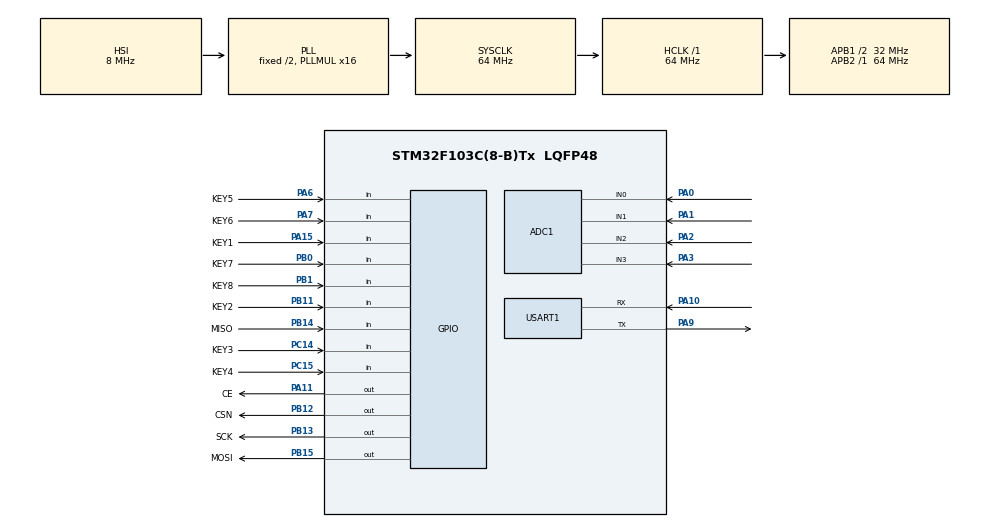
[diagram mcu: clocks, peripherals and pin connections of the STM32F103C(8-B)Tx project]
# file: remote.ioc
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ADC1.Channel-5\#ChannelRegularConversion=ADC_CHANNEL_0
ADC1.Channel-6\#ChannelRegularConversion=ADC_CHANNEL_1
ADC1.Channel-7\#ChannelRegularConversion=ADC_CHANNEL_2
ADC1.Channel-8\#ChannelRegularConversion=ADC_CHANNEL_3
ADC1.NbrOfConversion=4
ADC1.NbrOfConversionFlag=1
ADC1.Rank-5\#ChannelRegularConversion=1
ADC1.Rank-6\#ChannelRegularConversion=2
ADC1.Rank-7\#ChannelRegularConversion=3
ADC1.Rank-8\#ChannelRegularConversion=4
ADC1.SamplingTime-5\#ChannelRegularConversion=ADC_SAMPLETIME_1CYCLE_5
ADC1.SamplingTime-6\#ChannelRegularConversion=ADC_SAMPLETIME_1CYCLE_5
ADC1.SamplingTime-7\#ChannelRegularConversion=ADC_SAMPLETIME_1CYCLE_5
ADC1.SamplingTime-8\#ChannelRegularConversion=ADC_SAMPLETIME_1CYCLE_5
ADC1.master=1
Dma.ADC1.0.Direction=DMA_PERIPH_TO_MEMORY
Dma.ADC1.0.Instance=DMA1_Channel1
Dma.ADC1.0.MemDataAlignment=DMA_MDATAALIGN_HALFWORD
Dma.ADC1.0.MemInc=DMA_MINC_ENABLE
Dma.ADC1.0.Mode=DMA_CIRCULAR
Dma.ADC1.0.PeriphDataAlignment=DMA_PDATAALIGN_HALFWORD
Dma.ADC1.0.PeriphInc=DMA_PINC_DISABLE
Dma.ADC1.0.Priority=DMA_PRIORITY_LOW
Dma.Request0=ADC1
FREERTOS.Tasks01=NRF,24,128,NRFTask,Default,NULL,Dynamic,NULL,NULL;KEY,8,128,KEYTask,Default,NULL,Dynamic,NULL,NULL;ADC,8,128,StartADC,Default,NULL,Dynamic,NULL,NULL
Mcu.Family=STM32F1
Mcu.Name=STM32F103C(8-B)Tx
Mcu.Package=LQFP48
NVIC.DMA1_Channel1_IRQn=true\:5\:0\:false\:false\:true\:true\:false\:true\:true
NVIC.PriorityGroup=NVIC_PRIORITYGROUP_4
PA0-WKUP.Signal=ADCx_IN0
PA1.Signal=ADCx_IN1
PA10.Mode=Asynchronous
PA10.Signal=USART1_RX
PA11.GPIO_Label=CE
PA11.Signal=GPIO_Output
PA13.Mode=Serial_Wire
PA13.Signal=SYS_JTMS-SWDIO
PA14.Mode=Serial_Wire
PA14.Signal=SYS_JTCK-SWCLK
PA15.GPIO_Label=KEY1
PA15.Signal=GPIO_Input
PA2.Signal=ADCx_IN2
PA3.Signal=ADCx_IN3
PA6.GPIO_Label=KEY5
PA6.Signal=GPIO_Input
PA7.GPIO_Label=KEY6
PA7.Signal=GPIO_Input
PA9.Mode=Asynchronous
PA9.Signal=USART1_TX
PB0.GPIO_Label=KEY7
PB0.Signal=GPIO_Input
PB1.GPIO_Label=KEY8
PB1.Signal=GPIO_Input
PB11.GPIO_Label=KEY2
PB11.Signal=GPIO_Input
PB12.GPIO_Label=CSN
PB12.PinState=GPIO_PIN_SET
PB12.Signal=GPIO_Output
PB13.GPIO_Label=SCK
PB13.Signal=GPIO_Output
PB14.GPIO_Label=MISO
PB14.Signal=GPIO_Input
PB15.GPIO_Label=MOSI
PB15.Signal=GPIO_Output
PC14-OSC32_IN.GPIO_Label=KEY3
PC14-OSC32_IN.Signal=GPIO_Input
PC15-OSC32_OUT.GPIO_Label=KEY4
PC15-OSC32_OUT.Signal=GPIO_Input
ProjectManager.HeapSize=0x200
ProjectManager.StackSize=0x400
ProjectManager.TargetToolchain=MDK-ARM V5.32
RCC.ADCPresc=RCC_ADCPCLK2_DIV8
RCC.AHBFreq_Value=64000000
RCC.APB1CLKDivider=RCC_HCLK_DIV2
RCC.APB1Freq_Value=32000000
RCC.APB1TimFreq_Value=64000000
RCC.APB2Freq_Value=64000000
RCC.APB2TimFreq_Value=64000000
RCC.HCLKFreq_Value=64000000
RCC.PLLMUL=RCC_PLL_MUL16
RCC.SYSCLKFreq_VALUE=64000000
RCC.SYSCLKSource=RCC_SYSCLKSOURCE_PLLCLK
RCC.USBFreq_Value=64000000
SH.ADCx_IN0.0=ADC1_IN0,IN0
SH.ADCx_IN1.0=ADC1_IN1,IN1
SH.ADCx_IN2.0=ADC2_IN2
SH.ADCx_IN2.1=ADC1_IN2,IN2
SH.ADCx_IN3.0=ADC2_IN3
SH.ADCx_IN3.1=ADC1_IN3,IN3
USART1.VirtualMode=VM_ASYNC
VP_FREERTOS_VS_CMSIS_V2.Mode=CMSIS_V2
board=custom

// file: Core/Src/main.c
/* USER CODE BEGIN Header */
/**
  ******************************************************************************
  * @file           : main.c
  * @brief          : Main program body
  ******************************************************************************
  * @attention
  *
  * Copyright (c) 2025 STMicroelectronics.
  * All rights reserved.
  *
  * This software is licensed under terms that can be found in the LICENSE file
  * in the root directory of this software component.
  * If no LICENSE file comes with this software, it is provided AS-IS.
  *
  ******************************************************************************
  */
/* USER CODE END Header */
#include "main.h"
#include "cmsis_os.h"
#include "adc.h"
#include "dma.h"
#include "usart.h"
#include "gpio.h"

/* USER CODE BEGIN Includes */

#include  "sys.h"
#include "stdio.h"

/* USER CODE END Includes */

void SystemClock_Config(void);
void MX_FREERTOS_Init(void);

int main(void)
{

  /* MCU Configuration--------------------------------------------------------*/

  /* Reset of all peripherals, Initializes the Flash interface and the Systick. */
  HAL_Init();

  /* Configure the system clock */
  SystemClock_Config();

  /* Initialize all configured peripherals */
  MX_GPIO_Init();
  MX_DMA_Init();
  MX_USART1_UART_Init();
  MX_ADC1_Init();
  /* USER CODE BEGIN 2 */

  sys_init();

  /* USER CODE END 2 */

  /* Init scheduler */
  osKernelInitialize();  /* Call init function for freertos objects (in cmsis_os2.c) */
  MX_FREERTOS_Init();

  /* Start scheduler */
  osKernelStart();

  /* We should never get here as control is now taken by the scheduler */

  /* Infinite loop */
  while (1)
  {

  }
}

void SystemClock_Config(void)
{
  RCC_OscInitTypeDef RCC_OscInitStruct = {0};
  RCC_ClkInitTypeDef RCC_ClkInitStruct = {0};
  RCC_PeriphCLKInitTypeDef PeriphClkInit = {0};

  /** Initializes the RCC Oscillators according to the specified parameters
  * in the RCC_OscInitTypeDef structure.
  */
  RCC_OscInitStruct.OscillatorType = RCC_OSCILLATORTYPE_HSI;
  RCC_OscInitStruct.HSIState = RCC_HSI_ON;
  RCC_OscInitStruct.HSICalibrationValue = RCC_HSICALIBRATION_DEFAULT;
  RCC_OscInitStruct.PLL.PLLState = RCC_PLL_ON;
  RCC_OscInitStruct.PLL.PLLSource = RCC_PLLSOURCE_HSI_DIV2;
  RCC_OscInitStruct.PLL.PLLMUL = RCC_PLL_MUL16;
  if (HAL_RCC_OscConfig(&RCC_OscInitStruct) != HAL_OK)
  {
    Error_Handler();
  }

  /** Initializes the CPU, AHB and APB buses clocks
  */
  RCC_ClkInitStruct.ClockType = RCC_CLOCKTYPE_HCLK|RCC_CLOCKTYPE_SYSCLK
                              |RCC_CLOCKTYPE_PCLK1|RCC_CLOCKTYPE_PCLK2;
  RCC_ClkInitStruct.SYSCLKSource = RCC_SYSCLKSOURCE_PLLCLK;
  RCC_ClkInitStruct.AHBCLKDivider = RCC_SYSCLK_DIV1;
  RCC_ClkInitStruct.APB1CLKDivider = RCC_HCLK_DIV2;
  RCC_ClkInitStruct.APB2CLKDivider = RCC_HCLK_DIV1;

  if (HAL_RCC_ClockConfig(&RCC_ClkInitStruct, FLASH_LATENCY_2) != HAL_OK)
  {
    Error_Handler();
  }
  PeriphClkInit.PeriphClockSelection = RCC_PERIPHCLK_ADC;
  PeriphClkInit.AdcClockSelection = RCC_ADCPCLK2_DIV8;
  if (HAL_RCCEx_PeriphCLKConfig(&PeriphClkInit) != HAL_OK)
  {
    Error_Handler();
  }
}

void Error_Handler(void)
{
  __disable_irq();
  while (1)
  {
  }
}

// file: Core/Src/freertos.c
/* USER CODE BEGIN Header */
/**
  ******************************************************************************
  * File Name          : freertos.c
  * Description        : Code for freertos applications
  ******************************************************************************
  * @attention
  *
  * Copyright (c) 2025 STMicroelectronics.
  * All rights reserved.
  *
  * This software is licensed under terms that can be found in the LICENSE file
  * in the root directory of this software component.
  * If no LICENSE file comes with this software, it is provided AS-IS.
  *
  ******************************************************************************
  */
/* USER CODE END Header */

#include "FreeRTOS.h"
#include "task.h"
#include "main.h"
#include "cmsis_os.h"

/* USER CODE BEGIN Includes */

#include "sys.h"
#include "stdio.h"
#include "adc.h"
#include <string.h>

/* USER CODE END Includes */

/* USER CODE BEGIN PTD */

uint16_t ADC_Value[4];
uint16_t thr, yaw,  pit, rol;

/* USER CODE END PTD */

/* USER CODE BEGIN PD */

// 校验和计算函数： 将数组前 len 个字节累加
uint8_t Calculate_Checksum(
    const uint8_t *data,
    uint8_t length
)
{
    uint8_t sum = 0U;
    uint8_t i;

    for (i = 0U; i < length; i++)
    {
        sum += data[i];
    }

    return sum;
}

// 遥控器发送函数：建议放在定时器中断中，每20ms(50Hz)调用一次
void Remote_Send_CtrlData(
  uint16_t thr,
  uint16_t yaw,
  uint16_t pit,
  uint16_t rol,
  uint8_t sw_mode
)
{
    FC_Packet_t tx_data;

    // 1. 填充数据
    tx_data.header1 = 0xAA;
    tx_data.header2 = 0xAF;
    tx_data.throttle = thr;
    tx_data.yaw = yaw;
    tx_data.pitch = pit;
    tx_data.roll = rol;
    tx_data.switch_cfg = sw_mode;

    // 2. 计算校验和 (前11个字节相加，存入第12个字节)
    tx_data.checksum = Calculate_Checksum((uint8_t*)&tx_data, 11);

    // 3. 将结构体数据拷贝到江协科技驱动的发送缓冲区
    memcpy(NRF24L01_TxPacket, &tx_data, 12);

    // 4. 调用驱动发送
    NRF24L01_Send();
}

uint8_t Remote_BuildControlFlags(void)
{
    uint8_t flags = 0U;

    /* KEY2：按住时发送缓降命令 */
    if (Key_IsDescentHeld() != 0U)
    {
        flags |= CTRL_FLAG_DESCENT;
    }

    /* KEY3：紧急停机触发后持续发送 */
    if (Key_IsEmergencyStopLatched() != 0U)
    {
        flags |= CTRL_FLAG_EMERGENCY_STOP;
    }

    /* KEY4：精细模式 */
    if (Key_GetControlMode() == KEY_CONTROL_FINE)
    {
        flags |= CTRL_FLAG_FINE_MODE;
    }

    return flags;
}

/* USER CODE END PD */

/* Definitions for NRF */
osThreadId_t NRFHandle;
const osThreadAttr_t NRF_attributes = {
  .name = "NRF",
  .stack_size = 128 * 4,
  .priority = (osPriority_t) osPriorityNormal,
};
/* Definitions for KEY */
osThreadId_t KEYHandle;
const osThreadAttr_t KEY_attributes = {
  .name = "KEY",
  .stack_size = 128 * 4,
  .priority = (osPriority_t) osPriorityLow,
};
/* Definitions for ADC */
osThreadId_t ADCHandle;
const osThreadAttr_t ADC_attributes = {
  .name = "ADC",
  .stack_size = 128 * 4,
  .priority = (osPriority_t) osPriorityLow,
};

void NRFTask(void *argument);
void KEYTask(void *argument);
void StartADC(void *argument);

void MX_FREERTOS_Init(void); /* (MISRA C 2004 rule 8.1) */

void MX_FREERTOS_Init(void) {

  /* Create the thread(s) */
  /* creation of NRF */
  NRFHandle = osThreadNew(NRFTask, NULL, &NRF_attributes);

  /* creation of KEY */
  KEYHandle = osThreadNew(KEYTask, NULL, &KEY_attributes);

  /* creation of ADC */
  ADCHandle = osThreadNew(StartADC, NULL, &ADC_attributes);

}

/* USER CODE BEGIN Header_NRFTask */

JoystickData_t g_joystick_data;
/**
  * @brief  Function implementing the NRF thread.
  * @param  argument: Not used
  * @retval None
  */
/* USER CODE END Header_NRFTask */
void NRFTask(void *argument)
{
  /* USER CODE BEGIN NRFTask */
  TickType_t last_wake_tick;
  uint8_t control_flags;
  uint8_t fine_mode;

  last_wake_tick = xTaskGetTickCount();

  /* Infinite loop */
  for(;;)
  {
        fine_mode =
            Key_GetControlMode() == KEY_CONTROL_FINE;

        Joystick_Update(
            ADC_Value,
            fine_mode,
            &g_joystick_data
        );

        control_flags = Remote_BuildControlFlags();

        Remote_Send_CtrlData(
            g_joystick_data.throttle,
            1500U,
            g_joystick_data.pitch,
            g_joystick_data.roll,
            control_flags
        );
        vTaskDelayUntil(
            &last_wake_tick,
            pdMS_TO_TICKS(20U)
        );

  }
  /* USER CODE END NRFTask */
}

void KEYTask(void *argument)
{
  /* USER CODE BEGIN KEYTask */
  uint8_t events;

  Key_Init();

  /* Infinite loop */
  for(;;)
  {
    /* 必须保持大约 10 ms 的固定扫描周期 */
    Key_Scan10ms();

    events = Key_GetAndClearEvents();

    if ((events & KEY_EVENT_CALIBRATE_REQUEST) != 0U)
    {
            /*
             * 在这里启动摇杆校准流程。
             *
             * 注意：
             * 这里只设置请求标志，不建议在按键扫描函数中直接
             * 执行耗时的 ADC 校准或 AT24C02 写入。
             */
            // Joystick_RequestCalibration();
    }

    if ((events & KEY_EVENT_EMERGENCY_STOP) != 0U)
    {
            /*
             * 紧急停机已经锁存。
             * 可以打开蜂鸣器或者状态灯提示。
             */
            // Buzzer_EmergencyAlarm();
    }

    if ((events & KEY_EVENT_MODE_CHANGED) != 0U)
    {
      if (Key_GetControlMode() == KEY_CONTROL_FINE)
      {
          /* 精细模式指示 */
         // LED_FineMode_On();
      }
      else
      {
        /* 标准模式指示 */
        // LED_FineMode_Off();
      }
    }
    osDelay(KEY_SCAN_PERIOD_MS);
  }
  /* USER CODE END KEYTask */
}

/* USER CODE BEGIN Header_StartADC */

volatile uint8_t adc_conversion_done = 0U;

/**
* @brief Function implementing the ADC thread.
* @param argument: Not used
* @retval None
*/
/* USER CODE END Header_StartADC */
void StartADC(void *argument)
{
  /* USER CODE BEGIN StartADC */

    TickType_t last_wake_tick;
    uint32_t last_print_time;
    uint32_t wait_start;

    last_wake_tick = xTaskGetTickCount();
    last_print_time = HAL_GetTick();

    if (HAL_ADCEx_Calibration_Start(&hadc1) != HAL_OK)
    {
        Error_Handler();
    }

  /* Infinite loop */
  for(;;)
  {
        adc_conversion_done = 0U;

        if (HAL_ADC_Start_DMA(
                &hadc1,
                (uint32_t *)ADC_Value,
                4U
            ) != HAL_OK)
        {
            Error_Handler();
        }

        wait_start = HAL_GetTick();

        while (adc_conversion_done == 0U)
        {
            if ((HAL_GetTick() - wait_start) > 5U)
            {
                break;
            }

            osDelay(1U);
        }

        HAL_ADC_Stop_DMA(&hadc1);

        if ((HAL_GetTick() - last_print_time) >= 100U)
        {
            last_print_time = HAL_GetTick();

            thr=ADC_Value[1];
            yaw=ADC_Value[0];
            pit=ADC_Value[2];
            rol=ADC_Value[3];

        }

        vTaskDelayUntil(
            &last_wake_tick,
            pdMS_TO_TICKS(10U)
        );

  }
  /* USER CODE END StartADC */
}

/* USER CODE BEGIN Application */

void HAL_ADC_ConvCpltCallback(ADC_HandleTypeDef *hadc)
{
    if (hadc->Instance == ADC1)
    {
        adc_conversion_done = 1U;
    }
}

/* USER CODE END Application */
